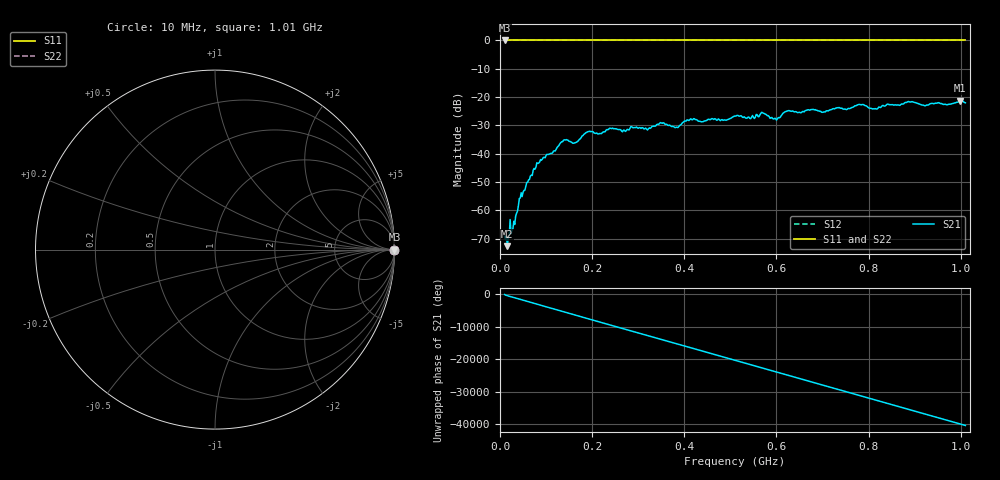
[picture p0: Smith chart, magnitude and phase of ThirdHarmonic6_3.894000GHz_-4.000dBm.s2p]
! 8/17/2025 1:40:51 PM
! C:\ANRITSUVNA\TEMP\TEMP.S2P
! CHANNEL.1
! TR.MEASUREMENT
! RAW.DATA
! RF.CORRECTION.OFF
! AVERAGING.OFF
! IF.BANDWIDTH: 5KHZ
! SWEEPTYPE:  FREQ.SWEEP(Linear)
! Reference Plane Port Info
! PORT:  PORT1  PORT2
! DISTANCE:  0  m  0  m
! TIME:  0  s  0  s
! PHASE.OFFSET:  0  deg.  0  deg.
! LOSS:  0  dB  0  dB
! REF.LOSS:  0  dB  0  dB
! REF.FREQ:  0  Hz  0  Hz
! Power Info
! POWER:  -20  dBm  -20  dBm
! EFF.POWER:  -20  dBm  -20  dBm
! SOURCE.ATTEN:  0  dB  0  dB
! TEST.ATTEN:  0  dB  0  dB
# GHZ S RI R 50.0
! FREQ.GHZ  S11RE  S11IM  S21RE  S21IM  S12RE  S12IM  S22RE  S22IM
!; PortSelection: Port_12
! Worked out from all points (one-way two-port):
!   501 points, 10 MHz to 1.01 GHz, reference 50 ohm
!   highest |S21| = -21.30 dB at 998 MHz (marker M1); lowest = -72.6 dB at 16 MHz (marker M2)
!   lowest |S11| = 0.0 dB at 10 MHz (marker M3)
!   |S11| at or under -10 dB: nowhere
!   |S22| runs from 0.0 to 0.0 dB; largest |S21 - S12| = 1.1
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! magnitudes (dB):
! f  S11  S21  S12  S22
! 10 MHz  0.0  -69.1  0.0  0.0
! 16 MHz  0.0  -72.6  0.0  0.0
! 28 MHz  0.0  -66.5  0.0  0.0
! 46 MHz  0.0  -53.8  0.0  0.0
! 84 MHz  0.0  -43.3  0.0  0.0
! 136 MHz  0.0  -35.7  0.0  0.0
! 162 MHz  0.0  -36.2  0.0  0.0
! 178 MHz  0.0  -33.7  0.0  0.0
! 194 MHz  0.0  -32.1  0.0  0.0
! 322 MHz  0.0  -31.2  0.0  0.0
! 344 MHz  0.0  -29.6  0.0  0.0
! 382 MHz  0.0  -30.6  0.0  0.0
! 410 MHz  0.0  -28.2  0.0  0.0
! 510 MHz  0.0  -26.7  0.0  0.0
! 570 MHz  0.0  -25.5  0.0  0.0
! 598 MHz  0.0  -27.5  0.0  0.0
! 624 MHz  0.0  -24.8  0.0  0.0
! 678 MHz  0.0  -24.4  0.0  0.0
! 814 MHz  0.0  -24.1  0.0  0.0
! 844 MHz  0.0  -22.6  0.0  0.0
! 998 MHz  0.0  -21.3  0.0  0.0
! 1.01 GHz  0.0  -22.0  0.0  0.0
